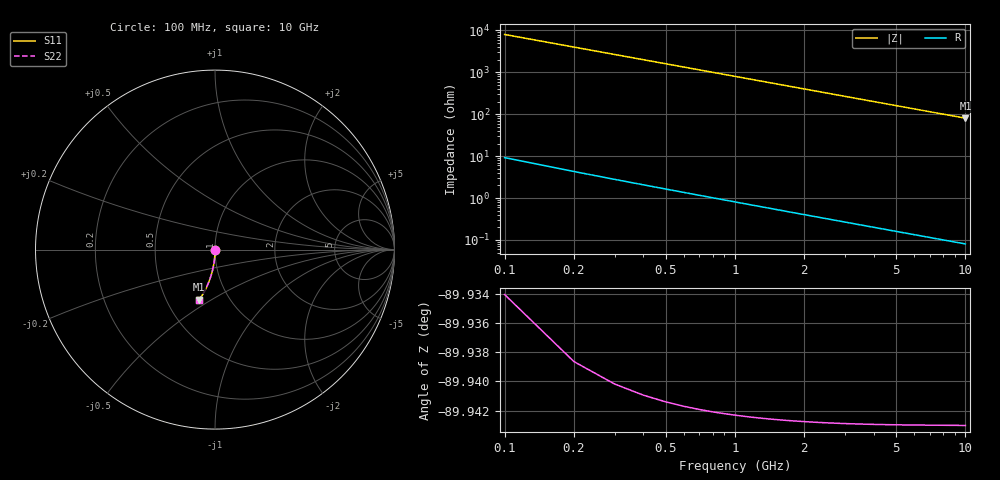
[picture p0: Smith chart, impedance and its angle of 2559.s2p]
# Hz S RI R 50.00
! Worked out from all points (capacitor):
!   100 points, 100 MHz to 10 GHz, reference 50 ohm
!   read as one part in shunt: C = 198 fF near 100 MHz
!   lowest |Z| = 80.7 ohm at 10 GHz (marker M1)
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1e8  -8.18e-06 -0.00309  1 -0.00314  1 -0.00314  -8.18e-06 -0.00309
2e8  -4.03e-05 -0.00617  0.9999 -0.00629  0.9999 -0.00629  -4.03e-05 -0.00617
3e8  -9.19e-05 -0.00926  0.9999 -0.00943  0.9999 -0.00943  -9.19e-05 -0.00926
4e8  -0.000163 -0.0123  0.9998 -0.0126  0.9998 -0.0126  -0.000163 -0.0123
5e8  -0.000253 -0.0154  0.9997 -0.0157  0.9997 -0.0157  -0.000253 -0.0154
6e8  -0.000363 -0.0185  0.9996 -0.0189  0.9996 -0.0189  -0.000363 -0.0185
7e8  -0.000492 -0.0216  0.9995 -0.022  0.9995 -0.022  -0.000492 -0.0216
8e8  -0.00064 -0.0247  0.9993 -0.0251  0.9993 -0.0251  -0.00064 -0.0247
9e8  -0.000808 -0.0277  0.9992 -0.0283  0.9992 -0.0283  -0.000808 -0.0277
1.1e9  -0.0012 -0.0339  0.9988 -0.0345  0.9988 -0.0345  -0.0012 -0.0339
1.4e9  -0.00193 -0.0431  0.9981 -0.0439  0.9981 -0.0439  -0.00193 -0.0431
1.8e9  -0.00318 -0.0553  0.9968 -0.0564  0.9968 -0.0564  -0.00318 -0.0553
2.1e9  -0.00431 -0.0645  0.9957 -0.0657  0.9957 -0.0657  -0.00431 -0.0645
2.5e9  -0.00609 -0.0766  0.9939 -0.0781  0.9939 -0.0781  -0.00609 -0.0766
2.9e9  -0.00816 -0.0887  0.9918 -0.0904  0.9918 -0.0904  -0.00816 -0.0887
3.4e9  -0.0112 -0.1036  0.9888 -0.1056  0.9888 -0.1056  -0.0112 -0.1036
4.2e9  -0.0169 -0.1272  0.9831 -0.1297  0.9831 -0.1297  -0.0169 -0.1272
5.1e9  -0.0247 -0.1532  0.9753 -0.1562  0.9753 -0.1562  -0.0247 -0.1532
5.9e9  -0.0327 -0.1756  0.9673 -0.1791  0.9673 -0.1791  -0.0327 -0.1756
6.7e9  -0.0417 -0.1975  0.9583 -0.2015  0.9583 -0.2015  -0.0417 -0.1975
8.4e9  -0.0639 -0.2415  0.9361 -0.2466  0.9361 -0.2466  -0.0639 -0.2415
1e10  -0.088 -0.2798  0.912 -0.2858  0.912 -0.2858  -0.088 -0.2798
